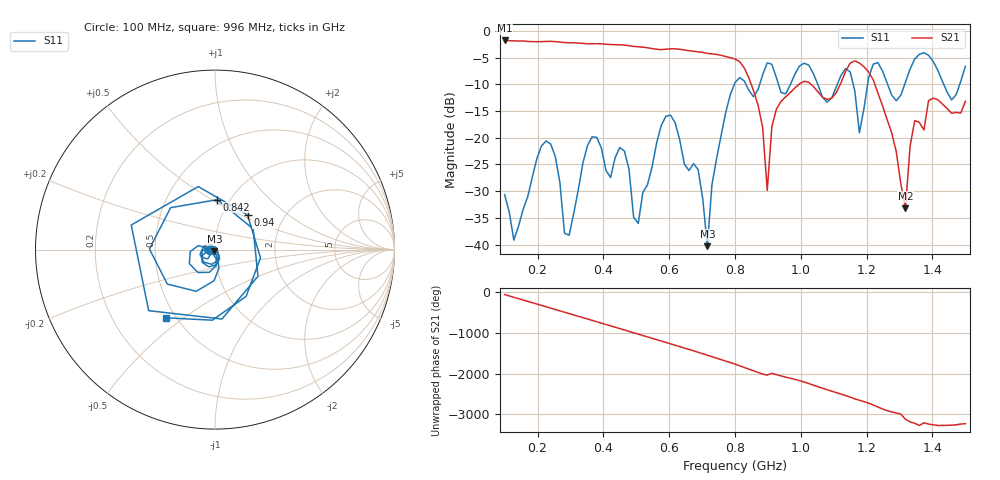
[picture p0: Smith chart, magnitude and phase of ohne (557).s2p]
! NanoVNA-App
! Date: 2025-09-25 14:25:08
! Start: 100MHz Stop: 1,5GHz Points: 101
! S-Parameter data: F S11 S21 S12 S22
# Hz S RI R 50
!  Frequency  S11_Real  S11_Imag  S21_Real  S21_Imag  S12_Real  S12_Imag  S22_Real  S22_Imag
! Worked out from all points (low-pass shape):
!   101 points, 100 MHz to 1.5 GHz, reference 50 ohm
!   highest |S21| = -1.79 dB at 100 MHz (marker M1); lowest = -33.2 dB at 1.318 GHz (marker M2)
!   |S21| within 3 dB of the highest: start of sweep to 771.5 MHz
!   lowest |S11| = -40.3 dB at 716 MHz (marker M3), VSWR 1.02, Z = 49.7 - j0.919 ohm
!   |S11| at or under -10 dB: start of sweep to 798 MHz; 833.1 MHz to 875 MHz (41.92 MHz wide, 4.91 % of centre); 1.052 GHz to 1.111 GHz (59.28 MHz wide, 5.48 % of centre) (the widest 3 of 7)
!   S12 and S22 are empty: the file has one direction only
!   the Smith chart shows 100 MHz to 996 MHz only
!   S11 on the Smith chart (normalised r, x): 100 MHz: 0.94, -0.01; 842 MHz: 0.88, +0.53; 940 MHz: 1.31, +0.55; 996 MHz: 0.44, -0.43
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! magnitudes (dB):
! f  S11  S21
! 100 MHz  -30.6  -1.8
! 128 MHz  -39.2  -1.9
! 226 MHz  -20.6  -2.0
! 296 MHz  -38.2  -2.2
! 338 MHz  -24.7  -2.3
! 464 MHz  -22.5  -2.7
! 506 MHz  -36.0  -3.0
! 576 MHz  -17.7  -3.5
! 688 MHz  -26.0  -3.9
! 716 MHz  -40.3  -4.2
! 800 MHz  -9.7  -5.3
! 842 MHz  -11.1  -8.8
! 898 MHz  -6.0  -29.9
! 940 MHz  -11.5  -13.2
! 996 MHz  -6.6  -9.9
! 1.038 GHz  -8.0  -10.4
! 1.178 GHz  -19.1  -6.0
! 1.22 GHz  -6.2  -9.2
! 1.276 GHz  -12.0  -19.1
! 1.318 GHz  -9.6  -33.2
! 1.346 GHz  -5.3  -16.8
! 1.5 GHz  -6.6  -13.2
